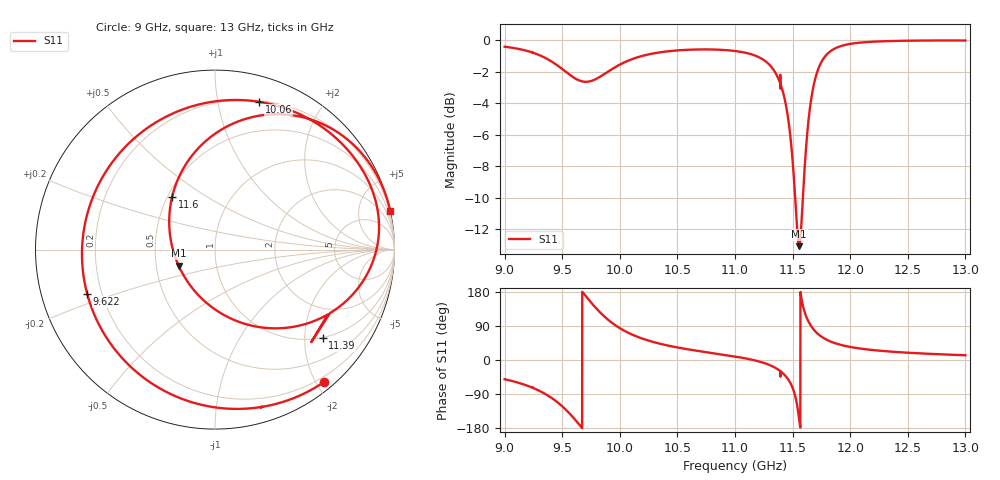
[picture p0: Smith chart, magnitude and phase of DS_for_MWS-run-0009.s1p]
! TOUCHSTONE file generated by CST DESIGN STUDIO
! Date and time: Tue Feb  4 18:27:32 2025
! Project name: C:\Work\MatlabApps\UnitCellOptimizationMatlab\CST\unitcell.cst
! Tree item: Tasks\Sweep1\SPara1\S-Parameters
! Header version: 2024
! Port assignment regex: !\s*Touchstone port\s*([0-9]+)\s*=\s*(CST MWS port|CST DES external port|CST DES block port)\s*(.+)\s* \(\"(.*)\"\)(\s*mode\s*([0-9]+))?.*
! Touchstone port assignment:
! Touchstone port 1 = CST DES external port 1 ("")
# GHz S MA R 50
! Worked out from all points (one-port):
!   4001 points, 9 GHz to 13 GHz, reference 50 ohm
!   lowest |S11| = -13.1 dB at 11.56 GHz (marker M1), VSWR 1.57, Z = 32.7 - j6.16 ohm
!   |S11| at or under -10 dB: 11.52 GHz to 11.59 GHz (66.94 MHz wide, 0.579 % of centre)
!   S11 on the Smith chart (normalised r, x): 9 GHz: 0.12, -2.10; 9.622 GHz: 0.14, -0.16; 10.06 GHz: 0.21, +1.32; 11.39 GHz: 0.98, -2.45; 11.6 GHz: 0.53, +0.36; 13 GHz: 0.03, +9.09
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9  0.9551 -50.7
9.17  0.9313 -64.9
9.323  0.8908 -84.6
9.418  0.8523 -102.2
9.5  0.8111 -122.1
9.622  0.7535 -161.0
9.715  0.7387 164.7
9.822  0.7638 127.7
9.905  0.7987 104.5
10  0.8377 84.0
10.063  0.8593 73.4
10.255  0.9037 50.6
10.5  0.9294 33.1
11  0.9255 9.2
11.254  0.8643 -8.1
11.334  0.8071 -18.0
11.393  0.7774 -39.4
11.444  0.6173 -44.0
11.5  0.415 -73.2
11.528  0.2925 -101.6
11.557  0.2216 -156.1
11.602  0.38 128.9
11.655  0.6271 92.3
11.714  0.7945 70.5
11.831  0.9253 48.6
12  0.9749 34.5
12.5  0.998 19.2
13  0.9994 12.6
